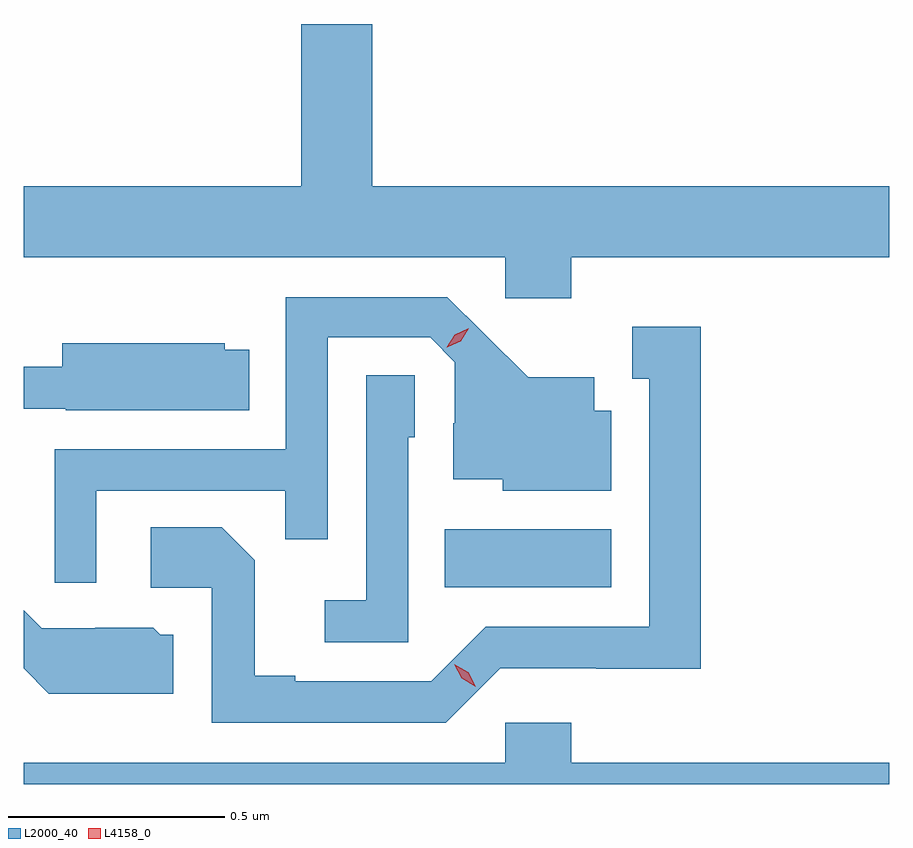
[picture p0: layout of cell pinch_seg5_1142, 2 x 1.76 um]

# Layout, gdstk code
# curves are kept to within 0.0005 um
import gdstk
lib = gdstk.Library(unit=1e-6, precision=1e-09)
def R(c, l, rs):  # rectangles x0, y0, x1, y1
    for r in rs: c.add(gdstk.rectangle(r[:2], r[2:], *l))
def P(c, l, *ps):  # polygons
    for p in ps: c.add(gdstk.Polygon(p, *l))
L2000_40 = (2000, 40)
L4158_0 = (4158, 0)

pinch_seg5_1142 = lib.new_cell('pinch_seg5_1142')
R(pinch_seg5_1142, L2000_40, [(788.716,838.682,789.1,838.816)])
P(pinch_seg5_1142, L2000_40, [(789.008,839.444),(789.743,839.444),(789.743,839.608),(788.548,839.608),(788.548,839.983),(788.384,839.983),(788.384,839.608),(787.743,839.608),(787.743,839.444),(788.856,839.444),(788.856,839.349),(789.008,839.349)],
  [(787.911,838.905),(788.347,838.905),(788.347,838.792),(788.445,838.792),(788.445,839.259),(788.682,839.259),(788.739,839.202),(788.739,839.06),(788.735,839.06),(788.735,838.931),(788.85,838.931),(788.85,838.904),(789.1,838.904),(789.1,839.089),(789.061,839.089),(789.061,839.167),(788.909,839.167),(788.722,839.352),(788.349,839.352),(788.349,839.001),(787.815,839.001),(787.815,838.692),(787.911,838.692)],
  [(788.844,838.494),(789.066,838.494),(789.066,838.493),(789.307,838.493),(789.307,839.284),(789.149,839.284),(789.149,839.163),(789.188,839.163),(789.188,838.59),(788.811,838.59),(788.685,838.464),(788.371,838.464),(788.371,838.477),(788.277,838.477),(788.277,838.744),(788.201,838.82),(788.037,838.82),(788.037,838.68),(788.178,838.68),(788.178,838.368),(788.718,838.368)],
  [(788.264,839.23),(788.208,839.23),(788.208,839.245),(787.832,839.245),(787.832,839.191),(787.743,839.191),(787.743,839.094),(787.84,839.094),(787.84,839.09),(788.264,839.09)],
  [(788.631,839.028),(788.646,839.028),(788.646,839.171),(788.535,839.171),(788.535,838.651),(788.439,838.651),(788.439,838.554),(788.631,838.554)],
  [(788.089,838.572),(788.058,838.572),(788.042,838.588),(787.908,838.588),(787.908,838.587),(787.785,838.587),(787.743,838.629),(787.743,838.495),(787.801,838.436),(788.089,838.436)],
  [(789.743,838.276),(789.008,838.276),(789.008,838.369),(788.856,838.369),(788.856,838.276),(787.743,838.276),(787.743,838.227),(789.743,838.227)])
P(pinch_seg5_1142, L4158_0, [(788.721,839.236),(788.721,839.236),(788.739,839.265),(788.771,839.28),(788.771,839.28),(788.771,839.28),(788.753,839.25),(788.722,839.236)],
  [(788.787,838.452),(788.755,838.471),(788.738,838.504),(788.738,838.504),(788.738,838.504),(788.77,838.485),(788.787,838.452),(788.787,838.452)])

lib.write_gds('pinch_seg5_1142.gds')
